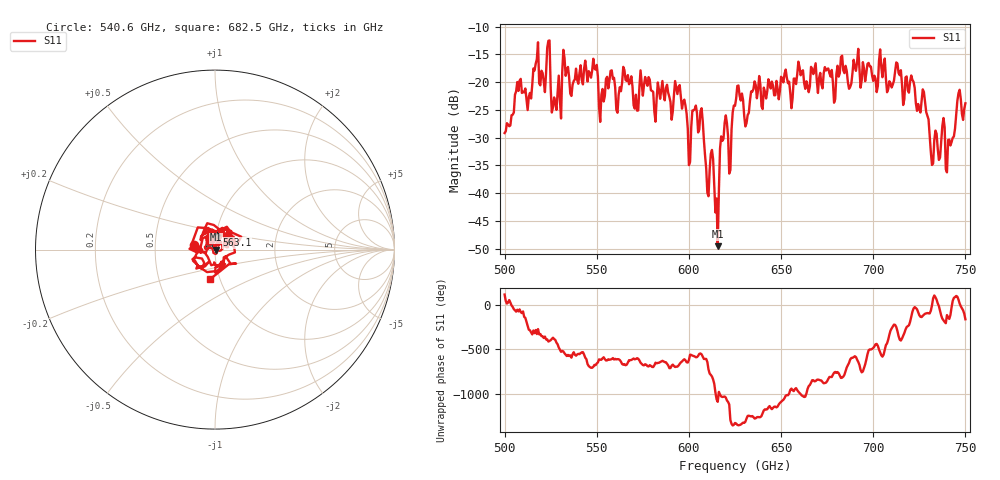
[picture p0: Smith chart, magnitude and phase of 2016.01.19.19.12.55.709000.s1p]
!Created with skrf (http://scikit-rf.org).
# GHz S RI R 50.0
!freq ReS11 ImS11
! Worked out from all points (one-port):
!   401 points, 500 GHz to 750 GHz, reference 50 ohm
!   lowest |S11| = -49.6 dB at 615.6 GHz (marker M1), VSWR 1.01, Z = 50.3 - j0.0446 ohm
!   |S11| at or under -10 dB: start of sweep to end of sweep
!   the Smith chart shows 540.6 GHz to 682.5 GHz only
!   S11 on the Smith chart (normalised r, x): 540.6 GHz: 0.79, +0.04; 563.1 GHz: 1.01, +0.17; 682.5 GHz: 0.89, -0.31
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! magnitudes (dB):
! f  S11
! 500 GHz  -29.2
! 507.5 GHz  -21.6
! 513.1 GHz  -22.6
! 516.9 GHz  -16.7
! 523.8 GHz  -12.5
! 526.9 GHz  -22.7
! 531.2 GHz  -18.2
! 540.6 GHz  -18.4
! 562.5 GHz  -20.9
! 563.1 GHz  -21.6
! 593.8 GHz  -22.1
! 600 GHz  -34.9
! 606.9 GHz  -24.7
! 610 GHz  -39.9
! 612.5 GHz  -32.2
! 615.6 GHz  -49.6
! 618.8 GHz  -30.2
! 622.5 GHz  -35.8
! 625 GHz  -24.3
! 656.2 GHz  -22.9
! 682.5 GHz  -15.5
! 687.5 GHz  -20.8
! 718.8 GHz  -21.4
! 728.1 GHz  -23.7
! 731.9 GHz  -34.9
! 740.6 GHz  -30.4
! 746.2 GHz  -22.0
! 750 GHz  -23.8
